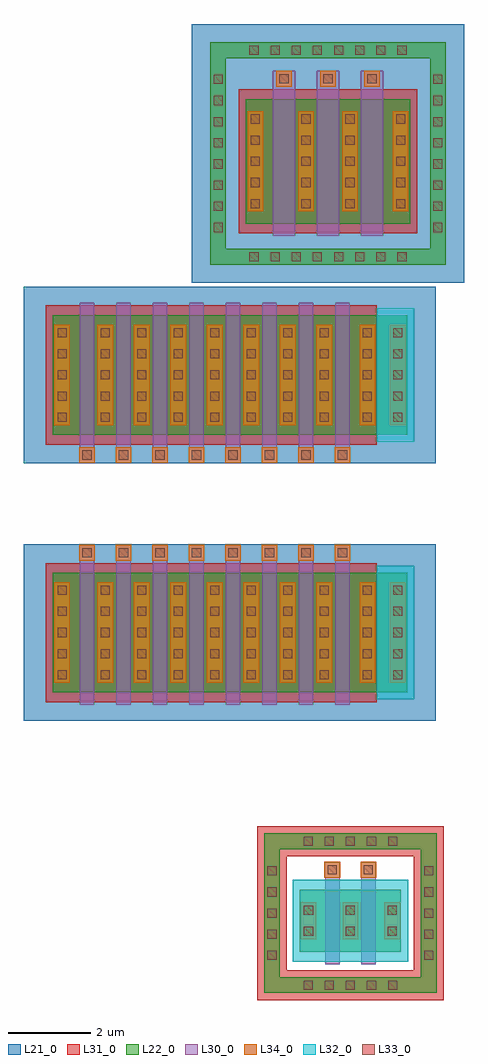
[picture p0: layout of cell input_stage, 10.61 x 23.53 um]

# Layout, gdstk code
import gdstk
lib = gdstk.Library(unit=1e-6, precision=5e-09)
def R(c, l, rs):  # rectangles x0, y0, x1, y1
    for r in rs: c.add(gdstk.rectangle(r[:2], r[2:], *l))
def A(c, l, x, y, w, h, nx, ny, dx, dy):  # array of equal rectangles
    R(c, l, [(x+i*dx, y+j*dy, x+i*dx+w, y+j*dy+h) for i in range(nx) for j in range(ny)])
def P(c, l, *ps):  # polygons
    for p in ps: c.add(gdstk.Polygon(p, *l))
L21_0 = (21, 0)
L22_0 = (22, 0)
L30_0 = (30, 0)
L31_0 = (31, 0)
L32_0 = (32, 0)
L33_0 = (33, 0)
L34_0 = (34, 0)

nfet = lib.new_cell('nfet')
R(nfet, L22_0, [(-0.42,0,0,1.5), (0,0,1.6,1.5), (1.6,0,2.02,1.5)])
P(nfet, L22_0, [(-1.28,-0.99),(-1.28,2.48),(-0.9,2.48),(-0.9,-0.61),(2.5,-0.61),(2.5,2.48),(-1.28,2.48),(-1.28,2.86),(2.88,2.86),(2.88,-0.99)])
R(nfet, L30_0, [(0.19,-0.3,0.54,1.8), (1.06,-0.3,1.41,1.8), (0.185,1.8,0.545,2.16), (1.055,1.8,1.415,2.16)])
P(nfet, L31_0, [(-1.45,-1.16),(-1.45,2.31),(-0.73,2.31),(-0.73,-0.44),(2.33,-0.44),(2.33,2.31),(-1.45,2.31),(-1.45,3.03),(3.05,3.03),(3.05,-1.16)])
R(nfet, L32_0, [(-0.59,-0.24,2.19,1.74)])
A(nfet, L33_0, -0.33, -0.91, 0.22, 0.22, 5, 2, 0.51, 3.47)
A(nfet, L33_0, -1.2, -0.195, 0.22, 0.22, 1, 5, 0, 0.51)
A(nfet, L33_0, 2.58, -0.195, 0.22, 0.22, 1, 5, 0, 0.51)
A(nfet, L33_0, -0.32, 0.385, 0.22, 0.22, 3, 2, 1.01, 0.51)
R(nfet, L33_0, [(0.255,1.87,0.475,2.09), (1.125,1.87,1.345,2.09)])
A(nfet, L34_0, -0.4, 0.305, 0.38, 0.89, 3, 1, 1.01, 0)
R(nfet, L34_0, [(0.175,1.79,0.555,2.17), (1.045,1.79,1.425,2.17)])

pfet = lib.new_cell('pfet')
R(pfet, L21_0, [(-1.76,-1.43,4.8,4.81)])
R(pfet, L22_0, [(-0.46,0,0,3), (0,0,3.04,3), (3.04,0,3.5,3)])
P(pfet, L22_0, [(-1.32,-0.99),(-1.32,3.99),(-0.94,3.99),(-0.94,-0.61),(3.98,-0.61),(3.98,3.99),(-1.32,3.99),(-1.32,4.37),(4.36,4.37),(4.36,-0.99)])
A(pfet, L30_0, 0.19, -0.3, 0.54, 3.6, 3, 1, 1.06, 0)
A(pfet, L30_0, 0.19, 3.3, 0.54, 0.38, 3, 1, 1.06, 0)
R(pfet, L31_0, [(-0.63,-0.24,3.67,3.24)])
A(pfet, L33_0, -0.375, -0.91, 0.22, 0.22, 8, 2, 0.51, 4.98)
A(pfet, L33_0, -1.24, -0.205, 0.22, 0.22, 1, 8, 0, 0.51)
A(pfet, L33_0, 4.06, -0.205, 0.22, 0.22, 1, 8, 0, 0.51)
A(pfet, L33_0, -0.34, 0.37, 0.22, 0.22, 1, 5, 0, 0.51)
A(pfet, L33_0, 0.88, 0.37, 0.22, 0.22, 1, 5, 0, 0.51)
A(pfet, L33_0, 1.94, 0.37, 0.22, 0.22, 1, 5, 0, 0.51)
A(pfet, L33_0, 3.16, 0.37, 0.22, 0.22, 1, 5, 0, 0.51)
A(pfet, L33_0, 0.35, 3.38, 0.22, 0.22, 3, 1, 1.06, 0)
A(pfet, L34_0, 0.27, 3.3, 0.38, 0.38, 3, 1, 1.06, 0)
R(pfet, L34_0, [(-0.42,0.29,-0.04,2.71), (0.8,0.29,1.18,2.71), (1.86,0.29,2.24,2.71), (3.08,0.29,3.46,2.71)])

pfet_2 = lib.new_cell('pfet$2')
R(pfet_2, L21_0, [(-1.15,-0.69,8.78,3.565)])
R(pfet_2, L22_0, [(-0.46,0,0,2.875), (0,0,6.9,2.875), (6.9,0,7.36,2.875), (7.36,0,8.09,2.875)])
A(pfet_2, L30_0, 0.19, -0.3, 0.36, 3.475, 8, 1, 0.88, 0)
A(pfet_2, L30_0, 0.18, 3.175, 0.38, 0.38, 8, 1, 0.88, 0)
R(pfet_2, L31_0, [(-0.63,-0.24,7.36,3.115)])
R(pfet_2, L32_0, [(7.36,-0.17,8.26,3.045)])
A(pfet_2, L33_0, -0.34, 0.31, 0.22, 0.22, 1, 5, 0, 0.51)
A(pfet_2, L33_0, 0.7, 0.31, 0.22, 0.22, 7, 5, 0.88, 0.51)
A(pfet_2, L33_0, 7.02, 0.31, 0.22, 0.22, 1, 5, 0, 0.51)
A(pfet_2, L33_0, 7.75, 0.31, 0.22, 0.22, 1, 5, 0, 0.51)
A(pfet_2, L33_0, 0.26, 3.255, 0.22, 0.22, 8, 1, 0.88, 0)
A(pfet_2, L34_0, 0.62, 0.23, 0.38, 2.42, 7, 1, 0.88, 0)
A(pfet_2, L34_0, 0.18, 3.175, 0.38, 0.38, 8, 1, 0.88, 0)
R(pfet_2, L34_0, [(-0.42,0.23,-0.04,2.65), (6.94,0.23,7.32,2.65), (7.67,0.23,8.05,2.65)])

pfet_3 = lib.new_cell('pfet$3')
R(pfet_3, L21_0, [(-1.15,-0.69,8.78,3.565)])
R(pfet_3, L22_0, [(-0.46,0,0,2.875), (0,0,6.9,2.875), (6.9,0,7.36,2.875), (7.36,0,8.09,2.875)])
A(pfet_3, L30_0, 0.18, -0.68, 0.38, 0.38, 8, 1, 0.88, 0)
A(pfet_3, L30_0, 0.19, -0.3, 0.36, 3.475, 8, 1, 0.88, 0)
R(pfet_3, L31_0, [(-0.63,-0.24,7.36,3.115)])
R(pfet_3, L32_0, [(7.36,-0.17,8.26,3.045)])
A(pfet_3, L33_0, 0.26, -0.6, 0.22, 0.22, 8, 1, 0.88, 0)
A(pfet_3, L33_0, -0.34, 0.31, 0.22, 0.22, 1, 5, 0, 0.51)
A(pfet_3, L33_0, 0.7, 0.31, 0.22, 0.22, 7, 5, 0.88, 0.51)
A(pfet_3, L33_0, 7.02, 0.31, 0.22, 0.22, 1, 5, 0, 0.51)
A(pfet_3, L33_0, 7.75, 0.31, 0.22, 0.22, 1, 5, 0, 0.51)
A(pfet_3, L34_0, 0.18, -0.68, 0.38, 0.38, 8, 1, 0.88, 0)
A(pfet_3, L34_0, 0.62, 0.23, 0.38, 2.42, 7, 1, 0.88, 0)
R(pfet_3, L34_0, [(-0.42,0.23,-0.04,2.65), (6.94,0.23,7.32,2.65), (7.67,0.23,8.05,2.65)])

input_stage = lib.new_cell('input_stage')
input_stage.add(gdstk.Reference(nfet, (6.51,4.86)))
input_stage.add(gdstk.Reference(pfet, (5.25,22.42)))
input_stage.add(gdstk.Reference(pfet_2, (0.59,11.12)))
input_stage.add(gdstk.Reference(pfet_3, (0.59,17.33)))

lib.write_gds('input_stage.gds')
